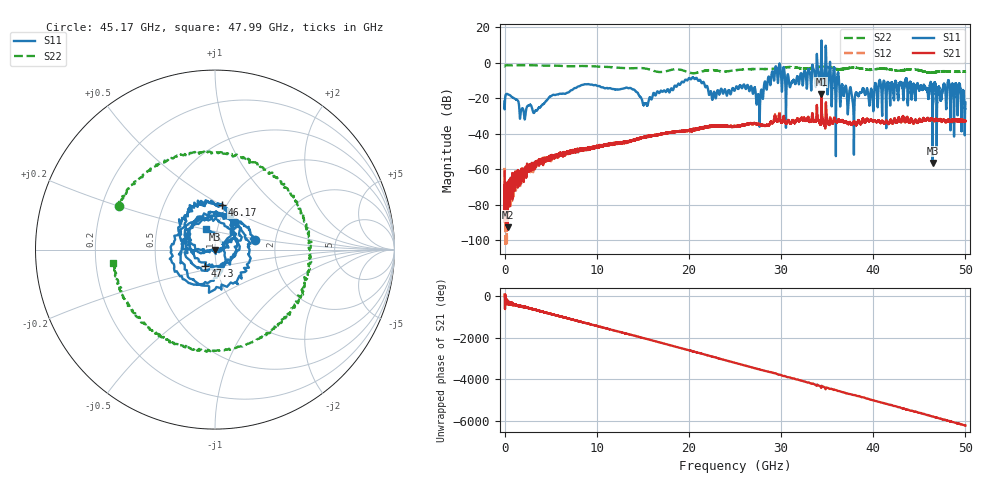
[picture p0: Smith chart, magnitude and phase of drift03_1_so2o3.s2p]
!Created with skrf (http://scikit-rf.org).
# Hz S RI R 50.0
!freq ReS11 ImS11 ReS21 ImS21 ReS12 ImS12 ReS22 ImS22
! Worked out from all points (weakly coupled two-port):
!   10001 points, 300 kHz to 50 GHz, reference 50 ohm
!   highest |S21| = -17.55 dB at 34.38 GHz (marker M1); lowest = -92.6 dB at 330.3 MHz (marker M2)
!   lowest |S11| = -56.4 dB at 46.45 GHz (marker M3), VSWR 1.00, Z = 50.1 - j0.0265 ohm
!   |S11| at or under -10 dB: start of sweep to 19.56 GHz; 21.26 GHz to 28.55 GHz (7.293 GHz wide, 29.3 % of centre); 43.65 GHz to 48.14 GHz (4.493 GHz wide, 9.79 % of centre) (the widest 3 of 28)
!   |S22| runs from -5.9 to -1.3 dB; largest |S21 - S12| = 0.022
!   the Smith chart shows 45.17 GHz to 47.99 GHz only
!   S11 on the Smith chart (normalised r, x): 45.17 GHz: 1.56, +0.17; 46.17 GHz: 0.95, +0.50; 47.3 GHz: 0.89, -0.16; 47.99 GHz: 0.88, +0.21
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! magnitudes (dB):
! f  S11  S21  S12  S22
! 300 kHz  -21.8  -61.3  -59.3  -2.1
! 330.3 MHz  -17.7  -92.6  -70.7  -1.4
! 3.3 GHz  -27.3  -58.1  -57.2  -1.5
! 8.335 GHz  -12.6  -49.3  -48.8  -1.9
! 15.29 GHz  -22.8  -41.7  -42.2  -3.3
! 16.67 GHz  -16.5  -40.5  -40.5  -5.2
! 20.26 GHz  -9.2  -37.8  -37.9  -5.9
! 22.71 GHz  -16.4  -35.7  -35.5  -4.2
! 25 GHz  -15.3  -36.0  -35.8  -4.3
! 27.52 GHz  -17.8  -34.8  -34.6  -3.5
! 29.28 GHz  -8.8  -31.3  -30.6  -3.4
! 30.72 GHz  -6.6  -32.7  -32.7  -2.5
! 33.34 GHz  -7.2  -31.6  -31.7  -2.9
! 34.38 GHz  12.5  -17.5  -18.6  -2.3
! 37.87 GHz  -30.6  -33.7  -34.1  -2.9
! 41.67 GHz  -12.2  -34.5  -34.3  -3.7
! 45.17 GHz  -12.8  -32.9  -32.5  -4.6
! 46.17 GHz  -12.0  -32.2  -32.3  -5.6
! 46.45 GHz  -56.4  -32.0  -32.2  -5.4
! 47.3 GHz  -19.6  -31.7  -32.4  -5.0
! 47.99 GHz  -17.9  -32.9  -32.8  -4.9
! 50 GHz  -22.5  -32.9  -32.8  -5.0
